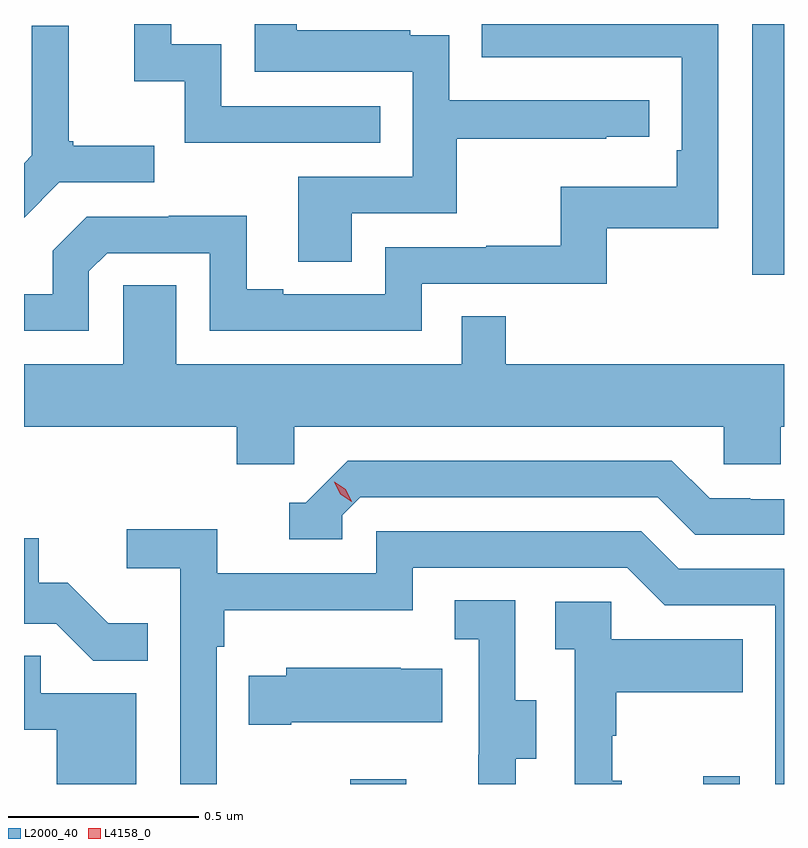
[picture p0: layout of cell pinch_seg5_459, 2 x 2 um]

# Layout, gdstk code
import gdstk
lib = gdstk.Library(unit=1e-6, precision=1e-09)
def R(c, l, rs):  # rectangles x0, y0, x1, y1
    for r in rs: c.add(gdstk.rectangle(r[:2], r[2:], *l))
def P(c, l, *ps):  # polygons
    for p in ps: c.add(gdstk.Polygon(p, *l))
L2000_40 = (2000, 40)
L4158_0 = (4158, 0)

pinch_seg5_459 = lib.new_cell('pinch_seg5_459')
R(pinch_seg5_459, L2000_40, [(937.276,857.152,937.423,857.164), (938.204,857.152,938.301,857.173), (938.333,858.492,938.417,859.152)])
P(pinch_seg5_459, L2000_40, [(937.355,858.936),(936.936,858.936),(936.936,859.099),(936.804,859.099),(936.804,859.152),(936.707,859.152),(936.707,859.001),(936.84,859.001),(936.84,858.84),(937.355,858.84)],
  [(937.279,858.654),(937.556,858.654),(937.556,858.85),(937.949,858.85),(937.949,858.855),(938.062,858.855),(938.062,858.951),(937.536,858.951),(937.536,859.123),(937.433,859.123),(937.433,859.135),(937.135,859.135),(937.135,859.152),(937.024,859.152),(937.024,859.026),(937.44,859.026),(937.44,858.75),(937.139,858.75),(937.139,858.526),(937.279,858.526)],
  [(936.588,858.501),(936.636,858.549),(936.906,858.549),(936.906,858.345),(937.464,858.345),(937.464,858.468),(937.951,858.468),(937.951,858.615),(938.244,858.615),(938.244,859.152),(937.621,859.152),(937.621,859.064),(937.835,859.064),(937.835,859.065),(938.148,859.065),(938.148,858.82),(938.135,858.82),(938.135,858.724),(937.83,858.724),(937.83,858.569),(937.633,858.569),(937.633,858.564),(937.368,858.564),(937.368,858.441),(937.099,858.441),(937.099,858.454),(937.003,858.454),(937.003,858.647),(936.798,858.647),(936.798,858.645),(936.582,858.645),(936.492,858.555),(936.492,858.441),(936.417,858.441),(936.417,858.345),(936.588,858.345)],
  [(936.51,858.735),(936.76,858.735),(936.76,858.832),(936.547,858.832),(936.547,858.844),(936.535,858.844),(936.535,859.147),(936.438,859.147),(936.438,858.807),(936.417,858.786),(936.417,858.642)],
  [(937.128,858.092),(938.259,858.092),(938.259,857.994),(938.409,857.994),(938.409,858.092),(938.417,858.092),(938.417,858.256),(937.685,858.256),(937.685,858.383),(937.569,858.383),(937.569,858.256),(936.817,858.256),(936.817,858.464),(936.678,858.464),(936.678,858.256),(936.417,858.256),(936.417,858.092),(936.977,858.092),(936.977,857.994),(937.128,857.994)],
  [(937.254,857.859),(937.302,857.907),(938.085,857.907),(938.184,857.808),(938.417,857.808),(938.417,857.901),(938.328,857.901),(938.328,857.904),(938.221,857.904),(938.122,858.003),(937.269,858.003),(937.158,857.892),(937.115,857.892),(937.115,857.796),(937.254,857.796)],
  [(936.924,857.513),(936.944,857.513),(936.944,857.609),(937.44,857.609),(937.44,857.721),(938.004,857.721),(938.103,857.622),(938.394,857.622),(938.394,857.152),(938.417,857.152),(938.417,857.718),(938.14,857.718),(938.041,857.817),(937.344,857.817),(937.344,857.706),(936.926,857.706),(936.926,857.822),(936.687,857.822),(936.687,857.72),(936.828,857.72),(936.828,857.152),(936.924,857.152)],
  [(936.743,857.575),(936.639,857.575),(936.532,857.682),(936.456,857.682),(936.456,857.799),(936.417,857.799),(936.417,857.574),(936.502,857.574),(936.599,857.477),(936.743,857.477)],
  [(937.711,857.218),(937.765,857.218),(937.765,857.373),(937.71,857.373),(937.71,857.636),(937.551,857.636),(937.551,857.533),(937.614,857.533),(937.614,857.229),(937.613,857.229),(937.613,857.152),(937.711,857.152)],
  [(937.99,857.16),(937.965,857.16),(937.965,857.279),(937.975,857.279),(937.975,857.393),(938.309,857.393),(938.309,857.533),(937.962,857.533),(937.962,857.631),(937.815,857.631),(937.815,857.507),(937.866,857.507),(937.866,857.152),(937.99,857.152)],
  [(936.712,857.391),(936.461,857.391),(936.461,857.489),(936.417,857.489),(936.417,857.295),(936.503,857.295),(936.503,857.152),(936.712,857.152)],
  [(937.12,857.315),(937.517,857.315),(937.517,857.455),(937.409,857.455),(937.409,857.458),(937.107,857.458),(937.107,857.437),(937.009,857.437),(937.009,857.308),(937.12,857.308)])
P(pinch_seg5_459, L4158_0, [(937.28,857.895),(937.249,857.915),(937.234,857.948),(937.234,857.948),(937.234,857.948),(937.264,857.928),(937.28,857.895),(937.28,857.895)])

lib.write_gds('pinch_seg5_459.gds')
